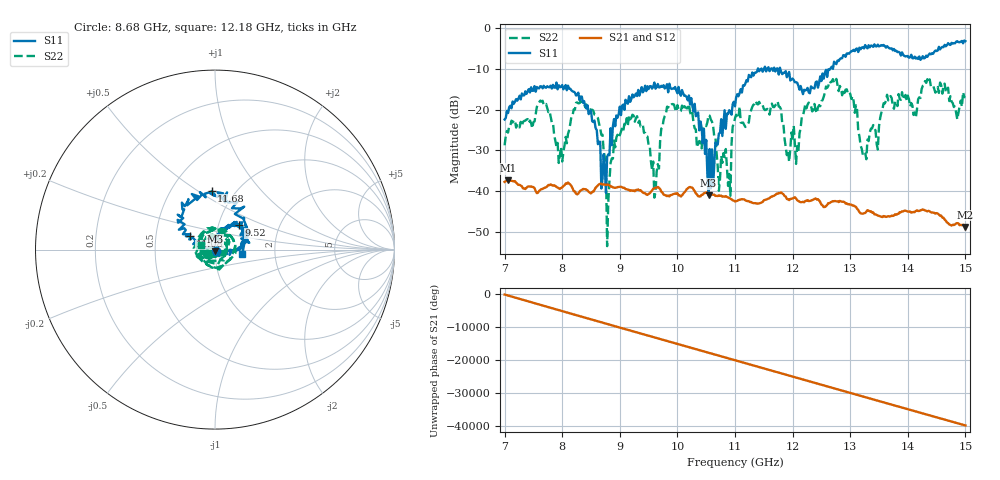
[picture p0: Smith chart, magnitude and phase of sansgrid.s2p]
!Keysight Technologies,N5242B,MY47200105,A.14.00.23
!Date: Friday, April 26, 2024 10:55:41
!Correction: S11(C  2-Port  )
!S21(C  2-Port  )
!S12(C  2-Port  )
!S22(C  2-Port  )
!S2P File: Measurement: :
# Hz S  RI  R 50
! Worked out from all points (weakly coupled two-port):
!   401 points, 7 GHz to 15 GHz, reference 50 ohm
!   highest |S21| = -37.36 dB at 7.06 GHz (marker M1); lowest = -48.7 dB at 15 GHz (marker M2)
!   lowest |S11| = -41.0 dB at 10.54 GHz (marker M3), VSWR 1.02, Z = 50 - j0.894 ohm
!   |S11| at or under -10 dB: start of sweep to 11.4 GHz; 11.40315 GHz to 11.45377 GHz (50.62 MHz wide, 0.443 % of centre); 11.79 GHz to 12.65 GHz (868 MHz wide, 7.1 % of centre) (the widest 3 of 10)
!   |S22| runs from -53.5 to -12.5 dB; largest |S21 - S12| = 0.0002
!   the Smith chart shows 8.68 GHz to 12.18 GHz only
!   S11 on the Smith chart (normalised r, x): 8.68 GHz: 1.02, -0.01; 9.52 GHz: 1.25, +0.36; 11.08 GHz: 0.75, +0.11; 11.68 GHz: 0.78, +0.57; 12.18 GHz: 1.36, -0.06
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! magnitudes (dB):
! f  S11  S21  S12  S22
! 7 GHz  -22.4  -37.7  -37.7  -28.8
! 7.06 GHz  -20.9  -37.4  -37.3  -25.6
! 7.66 GHz  -14.8  -39.4  -39.4  -17.8
! 7.98 GHz  -14.4  -39.2  -39.2  -29.2
! 8.34 GHz  -16.8  -39.7  -39.7  -18.4
! 8.68 GHz  -39.3  -38.2  -38.2  -26.2
! 8.8 GHz  -31.0  -38.4  -38.4  -42.7
! 9.2 GHz  -17.4  -39.8  -39.8  -22.0
! 9.52 GHz  -14.3  -40.5  -40.5  -28.9
! 9.68 GHz  -14.6  -39.2  -39.2  -34.4
! 10.54 GHz  -41.0  -40.5  -40.5  -21.3
! 10.88 GHz  -21.1  -41.5  -41.5  -38.7
! 11 GHz  -19.2  -42.5  -42.5  -22.1
! 11.08 GHz  -16.0  -42.1  -42.1  -19.3
! 11.68 GHz  -9.7  -41.1  -41.1  -19.4
! 11.92 GHz  -11.4  -42.0  -42.0  -30.0
! 12.18 GHz  -16.2  -42.6  -42.7  -21.5
! 12.34 GHz  -14.6  -42.2  -42.2  -20.4
! 12.96 GHz  -6.2  -43.2  -43.3  -16.0
! 13.24 GHz  -5.0  -45.4  -45.3  -30.7
! 13.68 GHz  -5.0  -46.2  -46.1  -17.2
! 15 GHz  -3.2  -48.7  -48.6  -16.9
